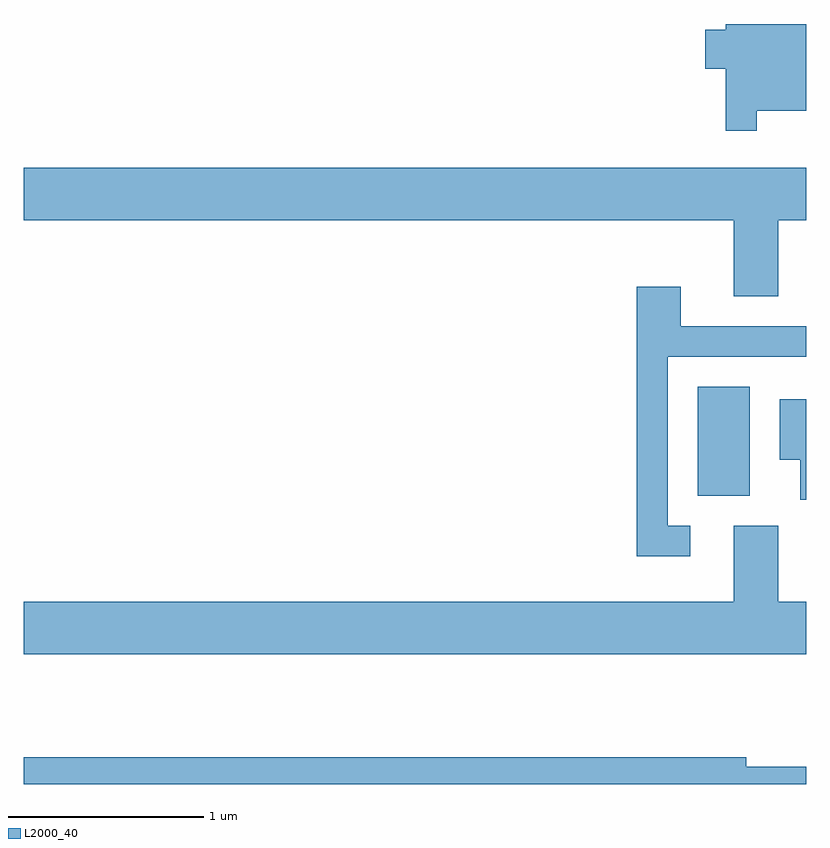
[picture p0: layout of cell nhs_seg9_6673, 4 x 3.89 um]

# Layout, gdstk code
import gdstk
lib = gdstk.Library(unit=1e-6, precision=1e-09)
def R(c, l, rs):  # rectangles x0, y0, x1, y1
    for r in rs: c.add(gdstk.rectangle(r[:2], r[2:], *l))
def P(c, l, *ps):  # polygons
    for p in ps: c.add(gdstk.Polygon(p, *l))
L2000_40 = (2000, 40)

nhs_seg9_6673 = lib.new_cell('nhs_seg9_6673')
R(nhs_seg9_6673, L2000_40, [(385.056,2045.906,385.324,2046.464)])
P(nhs_seg9_6673, L2000_40, [(385.359,2047.876),(385.611,2047.876),(385.611,2048.319),(385.201,2048.319),(385.201,2048.289),(385.096,2048.289),(385.096,2048.091),(385.201,2048.091),(385.201,2047.773),(385.359,2047.773)],
  [(385.469,2047.316),(385.611,2047.316),(385.611,2047.584),(381.611,2047.584),(381.611,2047.316),(385.241,2047.316),(385.241,2046.926),(385.469,2046.926)],
  [(385.018,2045.754),(384.904,2045.754),(384.904,2046.616),(385.611,2046.616),(385.611,2046.774),(384.969,2046.774),(384.969,2046.974),(384.746,2046.974),(384.746,2045.596),(385.018,2045.596)],
  [(385.611,2046.399),(385.476,2046.399),(385.476,2046.091),(385.581,2046.091),(385.581,2045.886),(385.611,2045.886)],
  [(385.611,2045.364),(385.469,2045.364),(385.469,2045.754),(385.241,2045.754),(385.241,2045.364),(381.611,2045.364),(381.611,2045.096),(385.611,2045.096)],
  [(385.611,2044.519),(385.304,2044.519),(385.304,2044.569),(381.611,2044.569),(381.611,2044.432),(385.611,2044.432)])

lib.write_gds('nhs_seg9_6673.gds')
